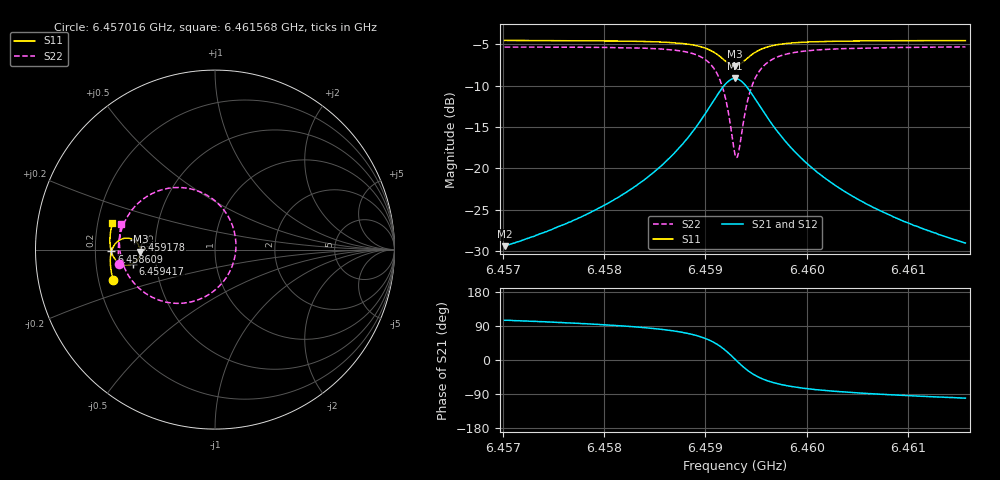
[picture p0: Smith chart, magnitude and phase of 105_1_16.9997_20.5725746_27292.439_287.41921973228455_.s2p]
#  HZ  S  RI  R  50.00
! Rohde & Schwarz Vector Network Analyzer
! Rohde-Schwarz,ZNB20-2Port,1311601062101988,3.16
! Created: UTC 3/20/2024, 10:56:47 PM
! freq[Hz]  re:S11  im:S11  re:S21  im:S21  re:S12  im:S12  re:S22  im:S22
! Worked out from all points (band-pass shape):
!   401 points, 6.457016 GHz to 6.461568 GHz, reference 50 ohm
!   highest |S21| = -9.14 dB at 6.459292 GHz (marker M1); lowest = -29.4 dB at 6.457016 GHz (marker M2)
!   |S21| within 3 dB of the highest: 6.459064 GHz to 6.45952 GHz (455.1 kHz wide, 0.00705 % of centre)
!   lowest |S11| = -7.6 dB at 6.459292 GHz (marker M3), VSWR 2.42, Z = 20.6 - j0.544 ohm
!   |S11| at or under -10 dB: nowhere
!   |S22| runs from -18.7 to -5.3 dB; largest |S21 - S12| = 0.014
!   S11 on the Smith chart (normalised r, x): 6.457016 GHz: 0.26, -0.14; 6.458609 GHz: 0.27, -0.01; 6.459178 GHz: 0.38, +0.05; 6.459417 GHz: 0.37, -0.07; 6.461568 GHz: 0.26, +0.12
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6.4570164e9  -0.5669 -0.1705  -0.00867 0.0328  -0.0071 0.0327  -0.5337 -0.0807
6.4577788e9  -0.5806 -0.1036  -0.0054 0.0509  -0.00298 0.0502  -0.5384 0.00901
6.4582112e9  -0.5833 -0.06  0.000839 0.0712  0.00418 0.0698  -0.5293 0.0785
6.4585412e9  -0.5794 -0.0201  0.0146 0.0997  0.0186 0.0969  -0.5038 0.1541
6.4586095e9  -0.5772 -0.0106  0.02 0.1083  0.0241 0.1049  -0.4937 0.1742
6.4588029e9  -0.5644 0.0199  0.047 0.1394  0.051 0.1344  -0.4434 0.2435
6.4589509e9  -0.5413 0.0462  0.0928 0.1702  0.0959 0.1633  -0.3586 0.3079
6.4590874e9  -0.4969 0.0639  0.181 0.1865  0.182 0.1793  -0.198 0.346
6.4591785e9  -0.4518 0.0532  0.2718 0.1546  0.272 0.1488  -0.0301 0.2939
6.4592467e9  -0.4224 0.0205  0.3327 0.0817  0.3348 0.0763  0.0854 0.1623
6.4592922e9  -0.4155 -0.0109  0.3489 0.0129  0.3526 0.00597  0.1167 0.034
6.4593036e9  -0.416 -0.0191  0.3485 -0.00492  0.3525 -0.0126  0.1162 -4.02e-05
6.4593264e9  -0.4197 -0.0349  0.3427 -0.0399  0.3466 -0.0492  0.1044 -0.0664
6.4593719e9  -0.4355 -0.0614  0.3136 -0.1002  0.3158 -0.1123  0.0453 -0.1797
6.4594174e9  -0.4578 -0.0778  0.2709 -0.1414  0.27 -0.1548  -0.041 -0.2544
6.4595085e9  -0.5017 -0.0848  0.1853 -0.1724  0.1791 -0.1841  -0.2111 -0.2995
6.4596564e9  -0.5459 -0.0643  0.0968 -0.1582  0.0881 -0.1644  -0.3794 -0.2489
6.4598157e9  -0.5678 -0.0366  0.0516 -0.1298  0.044 -0.1326  -0.4598 -0.1761
6.4600547e9  -0.5808 -0.00119  0.0223 -0.0981  0.0165 -0.0986  -0.5077 -0.0933
6.460396e9  -0.5854 0.0397  0.00631 -0.0711  0.00222 -0.0706  -0.529 -0.0142
6.4608171e9  -0.5837 0.0822  -0.00143 -0.0524  -0.00431 -0.0514  -0.533 0.0539
6.4615681e9  -0.5719 0.1489  -0.00654 -0.0349  -0.00821 -0.034  -0.5218 0.143
